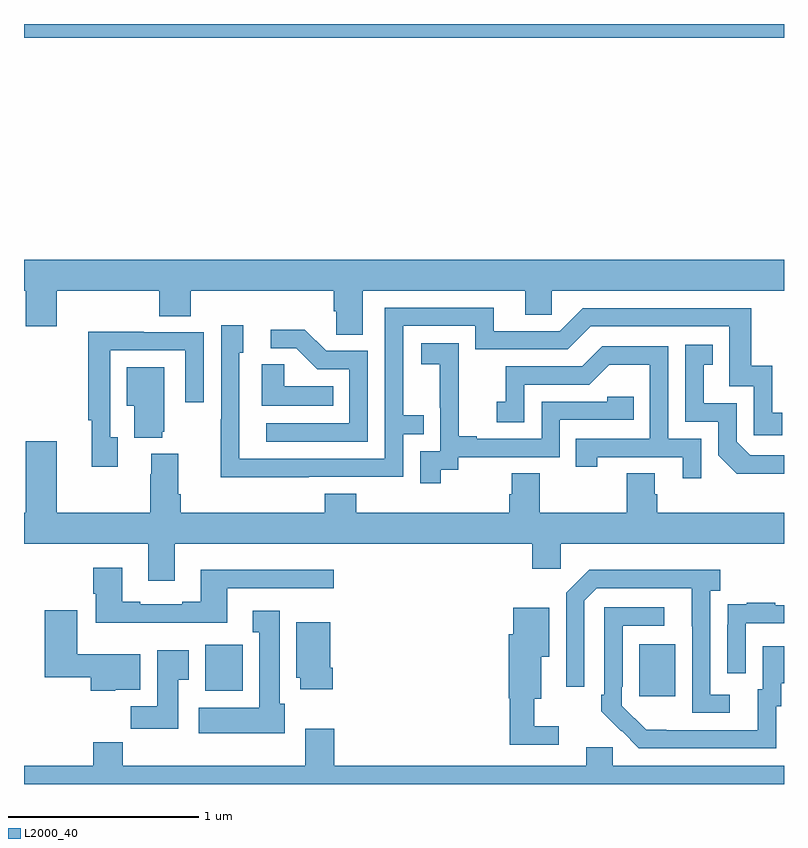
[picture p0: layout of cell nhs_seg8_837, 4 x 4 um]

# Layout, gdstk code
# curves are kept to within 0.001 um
import gdstk
lib = gdstk.Library(unit=1e-6, precision=1e-09)
def R(c, l, rs):  # rectangles x0, y0, x1, y1
    for r in rs: c.add(gdstk.rectangle(r[:2], r[2:], *l))
def P(c, l, *ps):  # polygons
    for p in ps: c.add(gdstk.Polygon(p, *l))
L2000_40 = (2000, 40)

nhs_seg8_837 = lib.new_cell('nhs_seg8_837')
R(nhs_seg8_837, L2000_40, [(168.239,1118.361,168.427,1118.635), (165.953,1118.39,166.15,1118.632), (165,1121.828,169,1121.9)])
P(nhs_seg8_837, L2000_40, [(166.783,1120.496),(167.639,1120.496),(167.639,1120.369),(167.778,1120.369),(167.778,1120.496),(169,1120.496),(169,1120.66),(165,1120.66),(165,1120.496),(165.008,1120.496),(165.008,1120.308),(165.172,1120.308),(165.172,1120.496),(165.713,1120.496),(165.713,1120.363),(165.878,1120.363),(165.878,1120.496),(166.631,1120.496),(166.631,1120.387),(166.644,1120.387),(166.644,1120.264),(166.783,1120.264)],
  [(166.499,1119.516),(166.995,1119.516),(166.995,1119.741),(167.105,1119.741),(167.105,1119.842),(166.995,1119.842),(166.995,1120.311),(167.376,1120.311),(167.376,1120.188),(167.862,1120.188),(167.982,1120.308),(168.711,1120.308),(168.711,1119.993),(168.84,1119.993),(168.84,1119.735),(168.991,1119.735),(168.991,1119.855),(168.938,1119.855),(168.938,1120.102),(168.827,1120.102),(168.827,1120.404),(167.94,1120.404),(167.82,1120.284),(167.473,1120.284),(167.473,1120.407),(166.899,1120.407),(166.899,1119.612),(166.134,1119.612),(166.134,1120.17),(166.153,1120.17),(166.153,1120.315),(166.038,1120.315),(166.038,1119.821),(166.036,1119.821),(166.036,1119.515)],
  [(166.809,1120.179),(166.59,1120.179),(166.477,1120.292),(166.299,1120.292),(166.299,1120.194),(166.433,1120.194),(166.544,1120.083),(166.713,1120.083),(166.713,1119.798),(166.275,1119.798),(166.275,1119.702),(166.809,1119.702)],
  [(165.493,1119.726),(165.453,1119.726),(165.453,1120.182),(165.849,1120.182),(165.849,1119.909),(165.945,1119.909),(165.945,1120.278),(165.629,1120.278),(165.629,1120.28),(165.337,1120.28),(165.337,1119.814),(165.356,1119.814),(165.356,1119.57),(165.493,1119.57)],
  [(167.194,1119.553),(167.286,1119.553),(167.286,1119.621),(167.82,1119.621),(167.82,1119.816),(168.209,1119.816),(168.209,1119.939),(168.069,1119.939),(168.069,1119.912),(167.724,1119.912),(167.724,1119.717),(167.383,1119.717),(167.383,1119.73),(167.288,1119.73),(167.288,1120.013),(167.289,1120.013),(167.289,1120.219),(167.091,1120.219),(167.091,1120.109),(167.189,1120.109),(167.189,1119.881),(167.19,1119.881),(167.19,1119.651),(167.085,1119.651),(167.085,1119.483),(167.194,1119.483)],
  [(169,1119.63),(168.822,1119.63),(168.75,1119.702),(168.75,1119.903),(168.577,1119.903),(168.577,1120.107),(168.626,1120.107),(168.626,1120.213),(168.48,1120.213),(168.48,1119.807),(168.654,1119.807),(168.654,1119.63),(168.752,1119.533),(169,1119.533)],
  [(168.564,1119.717),(168.39,1119.717),(168.39,1120.203),(168.044,1120.203),(167.939,1120.098),(167.536,1120.098),(167.536,1119.913),(167.487,1119.913),(167.487,1119.804),(167.634,1119.804),(167.634,1120.002),(167.976,1120.002),(168.08,1120.106),(168.294,1120.106),(168.294,1119.717),(167.905,1119.717),(167.905,1119.57),(168.016,1119.57),(168.016,1119.621),(168.467,1119.621),(168.467,1119.51),(168.564,1119.51)],
  [(166.628,1119.994),(166.371,1119.994),(166.371,1120.109),(166.25,1120.109),(166.25,1119.89),(166.628,1119.89)],
  [(165.728,1119.753),(165.739,1119.753),(165.739,1120.093),(165.542,1120.093),(165.542,1119.89),(165.581,1119.89),(165.581,1119.722),(165.728,1119.722)],
  [(165.793,1119.164),(167.675,1119.164),(167.675,1119.033),(167.826,1119.033),(167.826,1119.164),(169,1119.164),(169,1119.328),(168.332,1119.328),(168.332,1119.426),(168.319,1119.426),(168.319,1119.536),(168.172,1119.536),(168.172,1119.328),(167.715,1119.328),(167.715,1119.536),(167.567,1119.536),(167.567,1119.426),(167.555,1119.426),(167.555,1119.328),(166.748,1119.328),(166.748,1119.427),(166.583,1119.427),(166.583,1119.328),(165.824,1119.328),(165.824,1119.424),(165.811,1119.424),(165.811,1119.637),(165.671,1119.637),(165.671,1119.53),(165.664,1119.53),(165.664,1119.328),(165.172,1119.328),(165.172,1119.703),(165.008,1119.703),(165.008,1119.328),(165,1119.328),(165,1119.164),(165.653,1119.164),(165.653,1118.97),(165.793,1118.97)],
  [(166.069,1118.931),(166.63,1118.931),(166.63,1119.028),(165.929,1119.028),(165.929,1118.86),(165.833,1118.86),(165.833,1118.847),(165.613,1118.847),(165.613,1118.86),(165.517,1118.86),(165.517,1119.037),(165.365,1119.037),(165.365,1118.902),(165.377,1118.902),(165.377,1118.75),(166.069,1118.75)],
  [(168.715,1118.37),(168.612,1118.37),(168.612,1118.918),(168.664,1118.918),(168.664,1119.028),(167.974,1119.028),(167.853,1118.907),(167.853,1118.412),(167.949,1118.412),(167.949,1118.865),(168.015,1118.931),(168.515,1118.931),(168.516,1118.274),(168.715,1118.274)],
  [(168.798,1118.745),(169,1118.745),(169,1118.841),(168.953,1118.841),(168.953,1118.854),(168.805,1118.854),(168.805,1118.847),(168.703,1118.847),(168.703,1118.738),(168.702,1118.738),(168.702,1118.484),(168.798,1118.484)],
  [(168.96,1118.31),(168.985,1118.31),(168.985,1118.429),(169,1118.429),(169,1118.626),(168.887,1118.626),(168.887,1118.4),(168.863,1118.4),(168.863,1118.184),(168.276,1118.185),(168.147,1118.313),(168.147,1118.413),(168.15,1118.413),(168.15,1118.733),(168.37,1118.733),(168.37,1118.829),(168.054,1118.829),(168.054,1118.371),(168.039,1118.371),(168.039,1118.283),(168.236,1118.088),(168.96,1118.088)],
  [(167.815,1118.203),(167.686,1118.203),(167.686,1118.348),(167.722,1118.348),(167.722,1118.57),(167.764,1118.57),(167.764,1118.827),(167.576,1118.827),(167.576,1118.688),(167.552,1118.688),(167.552,1118.352),(167.557,1118.352),(167.557,1118.106),(167.815,1118.106)],
  [(165.48,1118.396),(165.613,1118.396),(165.613,1118.584),(165.28,1118.584),(165.28,1118.815),(165.11,1118.815),(165.11,1118.462),(165.35,1118.462),(165.35,1118.39),(165.48,1118.39)],
  [(166.372,1118.322),(166.345,1118.322),(166.345,1118.812),(166.205,1118.812),(166.205,1118.699),(166.238,1118.699),(166.238,1118.302),(165.921,1118.302),(165.921,1118.168),(166.372,1118.168)],
  [(166.625,1118.512),(166.612,1118.512),(166.612,1118.752),(166.433,1118.752),(166.433,1118.46),(166.454,1118.46),(166.454,1118.4),(166.625,1118.4)],
  [(165.811,1118.449),(165.868,1118.449),(165.868,1118.605),(165.701,1118.605),(165.701,1118.308),(165.562,1118.308),(165.562,1118.19),(165.811,1118.19)],
  [(169,1117.996),(168.099,1117.996),(168.099,1118.094),(167.96,1118.094),(167.96,1117.996),(166.634,1117.996),(166.634,1118.191),(166.481,1118.191),(166.481,1117.996),(165.521,1117.996),(165.521,1118.12),(165.365,1118.12),(165.365,1117.996),(165,1117.996),(165,1117.9),(169,1117.9)])

lib.write_gds('nhs_seg8_837.gds')
